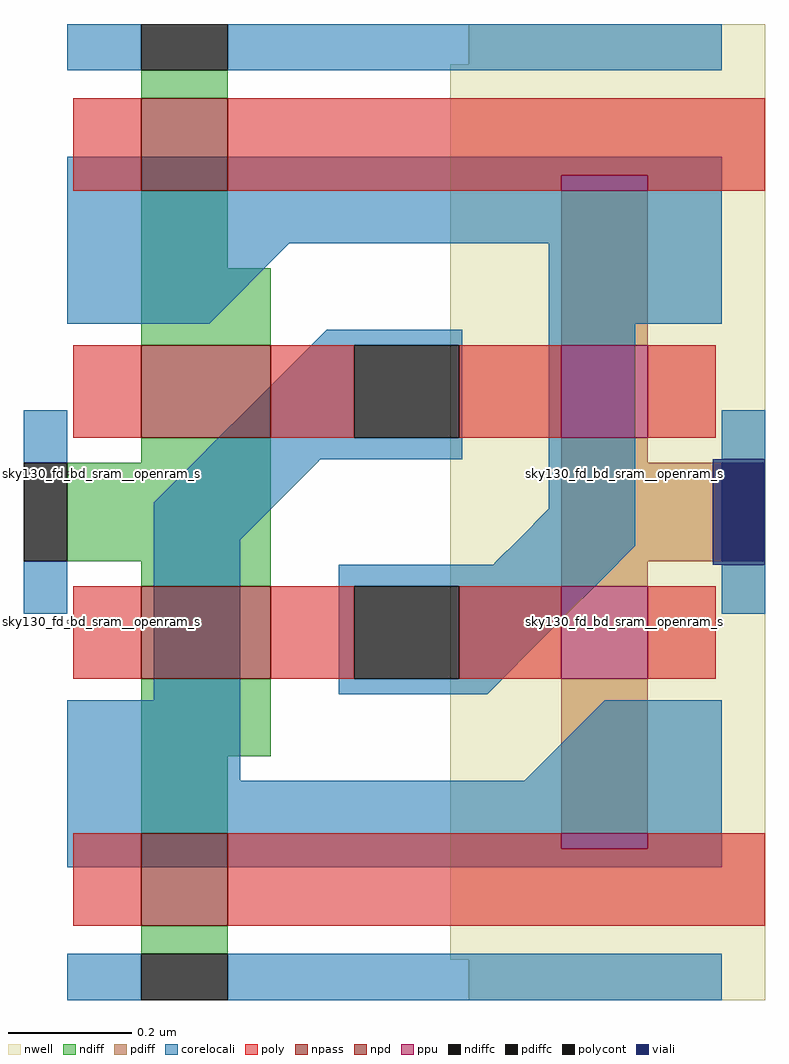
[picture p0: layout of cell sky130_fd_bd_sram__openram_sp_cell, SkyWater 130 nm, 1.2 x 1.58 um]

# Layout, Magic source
magic
tech sky130A
magscale 1 2
<< nwell >>
rect 144 303 240 316
rect 138 13 240 303
rect 144 0 240 13
<< npd >>
rect 38 182 80 212
rect 38 104 80 134
<< npass >>
rect 38 262 66 292
rect 38 24 66 54
<< ppu >>
rect 174 262 202 267
rect 174 182 202 212
rect 174 104 202 134
rect 174 49 202 54
<< ndiff >>
rect 38 292 66 301
rect 38 237 66 262
rect 38 212 80 237
rect 38 174 80 182
rect 14 142 80 174
rect 38 134 80 142
rect 38 79 80 104
rect 38 54 66 79
rect 38 15 66 24
<< pdiff >>
rect 174 212 202 262
rect 174 174 202 182
rect 174 142 226 174
rect 174 134 202 142
rect 174 54 202 104
<< ndiffc >>
rect 38 301 66 316
rect 0 142 14 174
rect 38 0 66 15
<< pdiffc >>
rect 226 142 240 174
<< poly >>
rect 16 262 38 292
rect 66 267 240 292
rect 66 262 174 267
rect 202 262 240 267
rect 16 182 38 212
rect 80 182 107 212
rect 141 182 174 212
rect 202 182 224 212
rect 16 104 38 134
rect 80 104 107 134
rect 141 104 174 134
rect 202 104 224 134
rect 16 24 38 54
rect 66 49 174 54
rect 202 49 240 54
rect 66 24 240 49
<< polycont >>
rect 107 182 141 212
rect 107 104 141 134
<< corelocali >>
rect 14 301 38 316
rect 66 301 226 316
rect 14 245 226 273
rect 14 219 60 245
tri 60 219 86 245 nw
rect 170 219 226 245
tri 93 212 98 217 se
rect 98 212 142 217
tri 82 201 93 212 se
rect 93 201 107 212
tri 72 191 82 201 se
rect 82 191 107 201
rect 0 174 14 191
tri 63 182 72 191 se
rect 72 182 107 191
rect 141 182 142 212
tri 55 174 63 182 se
rect 63 175 142 182
rect 63 174 95 175
tri 95 174 96 175 nw
rect 0 125 14 142
tri 42 161 55 174 se
rect 55 161 82 174
tri 82 161 95 174 nw
rect 42 97 70 161
tri 70 149 82 161 nw
tri 160 149 170 159 se
rect 170 149 198 219
rect 226 175 240 191
tri 153 142 160 149 se
rect 160 147 198 149
rect 160 142 193 147
tri 193 142 198 147 nw
tri 152 141 153 142 se
rect 153 141 192 142
tri 192 141 193 142 nw
rect 102 134 170 141
rect 102 104 107 134
rect 141 119 170 134
tri 170 119 192 141 nw
rect 226 125 240 141
rect 141 104 150 119
rect 102 99 150 104
tri 150 99 170 119 nw
rect 14 71 70 97
tri 162 71 188 97 se
rect 188 71 226 97
rect 14 43 226 71
rect 14 0 38 15
rect 66 0 226 15
<< viali >>
rect 223 174 240 175
rect 223 142 226 174
rect 226 142 240 174
rect 223 141 240 142
use sky130_fd_bd_sram__openram_sp_cell_fom_serifs  sky130_fd_bd_sram__openram_sp_cell_fom_serifs_0
transform 1 0 0 0 1 122
box 14 0 195 49
<< properties >>
string GDS_FILE sky130_fd_bd_sram__openram_sp_cell.gds
string GDS_END 4082
string GDS_START 836
<< end >>

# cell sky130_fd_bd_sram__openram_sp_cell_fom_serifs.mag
magic
tech sky130A
magscale 1 2
use sky130_fd_bd_sram__openram_sp_cell_fom_serif_nmos  sky130_fd_bd_sram__openram_sp_cell_fom_serif_nmos_0
transform 1 0 14 0 1 0
box 0 0 1 1
use sky130_fd_bd_sram__openram_sp_cell_fom_serif_nmos  sky130_fd_bd_sram__openram_sp_cell_fom_serif_nmos_1
transform 1 0 14 0 1 48
box 0 0 1 1
use sky130_fd_bd_sram__openram_sp_cell_fom_serif_pmos  sky130_fd_bd_sram__openram_sp_cell_fom_serif_pmos_0
transform 1 0 194 0 1 48
box 0 0 1 1
use sky130_fd_bd_sram__openram_sp_cell_fom_serif_pmos  sky130_fd_bd_sram__openram_sp_cell_fom_serif_pmos_1
transform 1 0 194 0 1 0
box 0 0 1 1
<< properties >>
string GDS_FILE sky130_fd_bd_sram__openram_sp_cell_fom_serifs.gds
string GDS_END 782
string GDS_START 482
<< end >>
